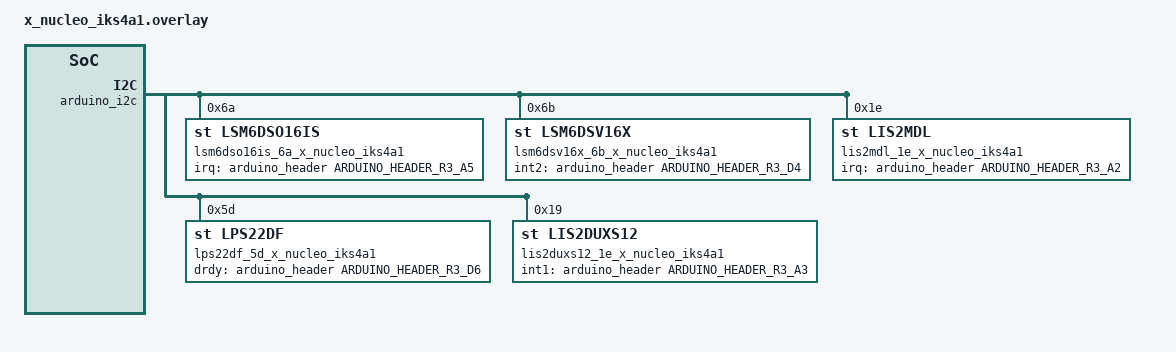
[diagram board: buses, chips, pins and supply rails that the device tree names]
/*
 * Copyright (c) 2024 STMicroelectronics
 *
 * SPDX-License-Identifier: Apache-2.0
 */

#include <zephyr/dt-bindings/gpio/arduino-header-r3.h>

/ {
	aliases {
		magn0 = &lis2mdl_1e_x_nucleo_iks4a1;
		accel0 = &lsm6dso16is_6a_x_nucleo_iks4a1;
		accel1 = &lsm6dsv16x_6b_x_nucleo_iks4a1;
		accel2 = &lis2duxs12_1e_x_nucleo_iks4a1;
		press0 = &lps22df_5d_x_nucleo_iks4a1;
	};
};

&arduino_i2c {
	lsm6dso16is_6a_x_nucleo_iks4a1: lsm6dso16is@6a {
		compatible = "st,lsm6dso16is";
		reg = <0x6a>;
		accel-odr = <0x1b>;
		gyro-odr = <0x11>;
		irq-gpios =  <&arduino_header ARDUINO_HEADER_R3_A5 GPIO_ACTIVE_HIGH>;
		drdy-pin = <1>;
	};

	lsm6dsv16x_6b_x_nucleo_iks4a1: lsm6dsv16x@6b {
		compatible = "st,lsm6dsv16x";
		reg = <0x6b>;
		accel-odr = <0x02>;
		gyro-odr = <0x02>;
		int2-gpios =  <&arduino_header ARDUINO_HEADER_R3_D4 GPIO_ACTIVE_HIGH>;
		drdy-pin = <2>;
		drdy-pulsed;
	};

	lis2mdl_1e_x_nucleo_iks4a1: lis2mdl@1e {
		compatible = "st,lis2mdl";
		reg = <0x1e>;
		irq-gpios =  <&arduino_header ARDUINO_HEADER_R3_A2 GPIO_ACTIVE_HIGH>;
	};

	lps22df_5d_x_nucleo_iks4a1: lps22df@5d {
		compatible = "st,lps22df";
		reg = <0x5d>;
		drdy-pulsed;
		drdy-gpios =  <&arduino_header ARDUINO_HEADER_R3_D6 GPIO_ACTIVE_HIGH>;
	};

	lis2duxs12_1e_x_nucleo_iks4a1: lis2duxs12@19 {
		compatible = "st,lis2duxs12";
		reg = <0x19>;
		int1-gpios =  <&arduino_header ARDUINO_HEADER_R3_A3 GPIO_ACTIVE_HIGH>;
	};

};
